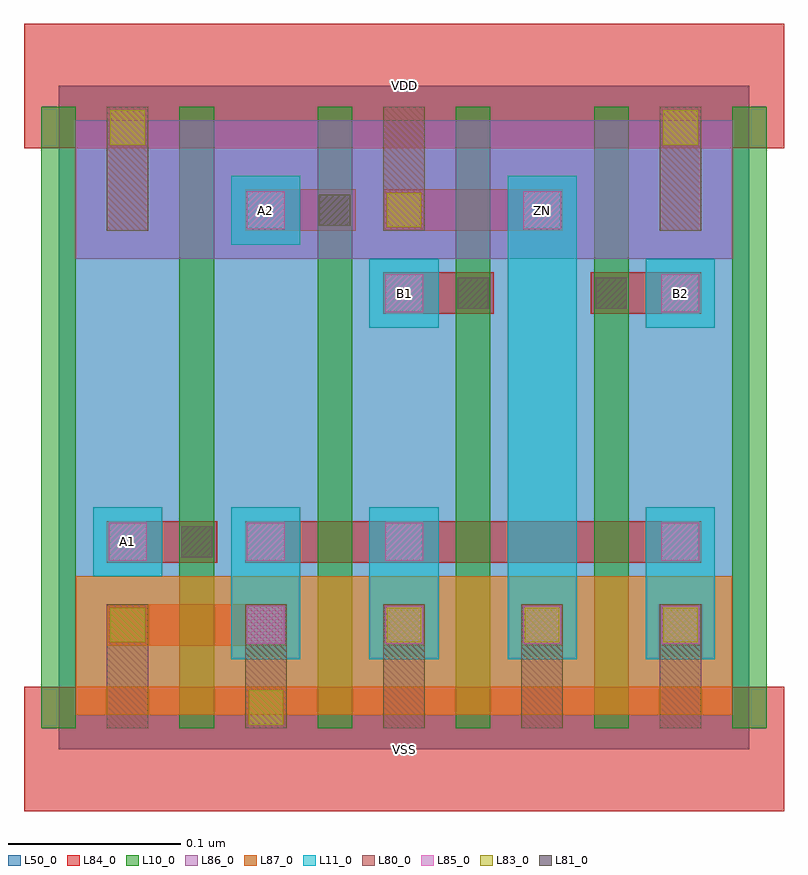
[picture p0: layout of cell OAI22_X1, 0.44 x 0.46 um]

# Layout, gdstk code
import gdstk
lib = gdstk.Library(unit=1e-6, precision=1e-09)
def R(c, l, rs):  # rectangles x0, y0, x1, y1
    for r in rs: c.add(gdstk.rectangle(r[:2], r[2:], *l))
def A(c, l, x, y, w, h, nx, ny, dx, dy):  # array of equal rectangles
    R(c, l, [(x+i*dx, y+j*dy, x+i*dx+w, y+j*dy+h) for i in range(nx) for j in range(ny)])
L10_0 = (10, 0)
L11_0 = (11, 0)
L50_0 = (50, 0)
L80_0 = (80, 0)
L81_0 = (81, 0)
L83_0 = (83, 0)
L84_0 = (84, 0)
L85_0 = (85, 0)
L86_0 = (86, 0)
L87_0 = (87, 0)

oai22_x1 = lib.new_cell('OAI22_X1')
A(oai22_x1, L10_0, -0.01, 0.012, 0.02, 0.36, 6, 1, 0.08, 0)
R(oai22_x1, L11_0, [(0.1,0.052,0.14,0.14), (0.18,0.052,0.22,0.14), (0.26,0.052,0.3,0.332), (0.34,0.052,0.38,0.14), (0.02,0.1,0.06,0.14), (0.18,0.244,0.22,0.284), (0.34,0.244,0.38,0.284), (0.1,0.292,0.14,0.332)])
R(oai22_x1, L50_0, [(0,0,0.4,0.384)])
A(oai22_x1, L80_0, 0.028, 0.012, 0.024, 0.072, 5, 1, 0.08, 0)
A(oai22_x1, L80_0, 0.028, 0.3, 0.024, 0.072, 3, 1, 0.16, 0)
R(oai22_x1, L81_0, [(0.071,0.111,0.089,0.129), (0.231,0.255,0.249,0.273), (0.311,0.255,0.329,0.273), (0.151,0.303,0.169,0.321)])
A(oai22_x1, L83_0, 0.19, 0.062, 0.02, 0.02, 3, 1, 0.08, 0)
R(oai22_x1, L83_0, [(0.11,0.014,0.13,0.034), (0.03,0.062,0.05,0.082), (0.19,0.302,0.21,0.322), (0.03,0.35,0.05,0.37), (0.35,0.35,0.37,0.37)])
A(oai22_x1, L84_0, 0.188, 0.06, 0.024, 0.024, 3, 1, 0.08, 0)
R(oai22_x1, L84_0, [(-0.02,-0.036,0.42,0.036), (0.028,0.06,0.132,0.084), (0.028,0.108,0.092,0.132), (0.108,0.108,0.372,0.132), (0.188,0.252,0.252,0.276), (0.308,0.252,0.372,0.276), (0.108,0.3,0.172,0.324), (0.188,0.3,0.292,0.324), (-0.02,0.348,0.42,0.42)])
A(oai22_x1, L85_0, 0.109, 0.061, 0.022, 0.022, 4, 1, 0.08, 0)
A(oai22_x1, L85_0, 0.029, 0.109, 0.022, 0.022, 3, 1, 0.08, 0)
R(oai22_x1, L85_0, [(0.349,0.109,0.371,0.131), (0.189,0.253,0.211,0.275), (0.349,0.253,0.371,0.275), (0.109,0.301,0.131,0.323), (0.269,0.301,0.291,0.323)])
R(oai22_x1, L86_0, [(0.01,0.284,0.39,0.364)])
R(oai22_x1, L87_0, [(0.01,0.02,0.39,0.1)])
oai22_x1.add(gdstk.Label('VDD', (0.2,0.384), layer=88, texttype=0))
oai22_x1.add(gdstk.Label('VSS', (0.2,0), layer=88, texttype=0))
oai22_x1.add(gdstk.Label('ZN', (0.28,0.312), layer=31, texttype=0))
oai22_x1.add(gdstk.Label('B1', (0.2,0.264), layer=31, texttype=0))
oai22_x1.add(gdstk.Label('A1', (0.04,0.12), layer=31, texttype=0))
oai22_x1.add(gdstk.Label('A2', (0.12,0.312), layer=31, texttype=0))
oai22_x1.add(gdstk.Label('B2', (0.36,0.264), layer=31, texttype=0))

lib.write_gds('OAI22_X1.gds')
